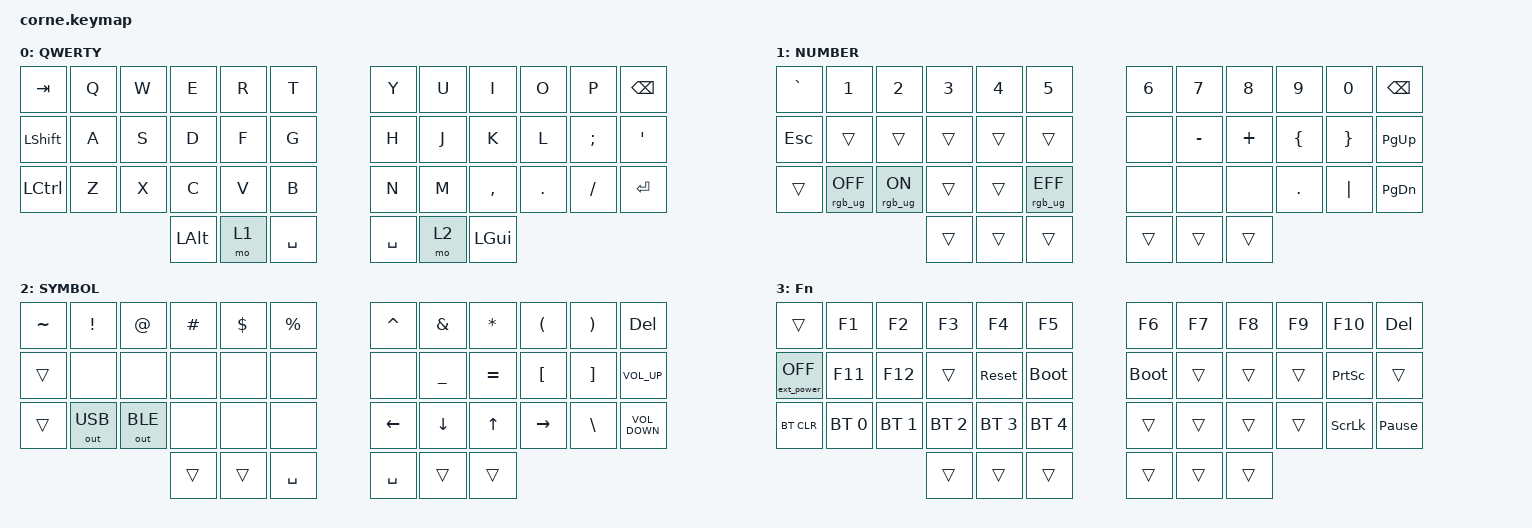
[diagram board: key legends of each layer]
/*
 * Copyright (c) 2020 The ZMK Contributors
 *
 * SPDX-License-Identifier: MIT
 */

#include <behaviors.dtsi>
#include <dt-bindings/zmk/bt.h>
#include <dt-bindings/zmk/ext_power.h>
#include <dt-bindings/zmk/keys.h>
#include <dt-bindings/zmk/outputs.h>
#include <dt-bindings/zmk/rgb.h>

/ {
    chosen {
        zmk,matrix_transform = &default_transform;

        // zmk,matrix_transform = &five_column_transform;
    };
};

/ {
    keymap {
        compatible = "zmk,keymap";

        default_layer {
            display-name = "QWERTY";

            // --------------------------------------------------------------------------------
            // |  TAB |  Q  |  W  |  E  |  R  |  T  |   |  Y  |  U   |  I  |  O  |  P  | BKSP |
            // | CTRL |  A  |  S  |  D  |  F  |  G  |   |  H  |  J   |  K  |  L  |  ;  |  '   | 
            // | SHFT |  Z  |  X  |  C  |  V  |  B  |   |  N  |  M   |  ,  |  .  |  /  | ESC  |
            //                    | GUI | LWR | SPC |   | ENT | RSE  | ALT |

            bindings = <
&kp TAB           &kp Q  &kp W  &kp E         &kp R  &kp T        &kp Y      &kp U  &kp I         &kp O    &kp P     &kp BSPC
&kp LEFT_SHIFT    &kp A  &kp S  &kp D         &kp F  &kp G        &kp H      &kp J  &kp K         &kp L    &kp SEMI  &kp SQT
&kp LEFT_CONTROL  &kp Z  &kp X  &kp C         &kp V  &kp B        &kp N      &kp M  &kp COMMA     &kp DOT  &kp FSLH  &kp ENTER
                                &kp LEFT_ALT  &mo 1  &kp SPACE    &kp SPACE  &mo 2  &kp LEFT_GUI
            >;
        };

        lower_layer {
            display-name = "NUMBER";

            // -----------------------------------------------------------------------------------------
            // |  TAB |  1  |  2  |  3  |  4  |  5  |   |  6  |  7  |  8  |  9  |  0  | BKSP |
            // | BTCLR| BT1 | BT2 | BT3 | BT4 | BT5 |   | LFT | DWN |  UP | RGT |     |      |
            // | SHFT |     |     |     |     |     |   |     |     |     |     |     |      |
            //                    | GUI |     | SPC |   | ENT |     | ALT |

            bindings = <
&kp GRAVE   &kp N1           &kp N2          &kp N3  &kp N4  &kp N5             &kp N6  &kp N7     &kp N8    &kp N9          &kp N0           &kp BSPC
&kp ESCAPE  &trans           &trans          &trans  &trans  &trans             &none   &kp MINUS  &kp PLUS  &kp LEFT_BRACE  &kp RIGHT_BRACE  &kp PG_UP
&trans      &rgb_ug RGB_OFF  &rgb_ug RGB_ON  &trans  &trans  &rgb_ug RGB_EFF    &none   &none      &none     &kp PERIOD      &kp PIPE         &kp PG_DN
                                             &trans  &trans  &trans             &trans  &trans     &trans
            >;
        };

        raise_layer {
            display-name = "SYMBOL";

            // -----------------------------------------------------------------------------------------
            // |  TAB |  !  |  @  |  #  |  $  |  %  |   |  ^  |  &  |  *  |  (  |  )  | BKSP |
            // | CTRL |     |     |     |     |     |   |  -  |  =  |  [  |  ]  |  \  |  `   |
            // | SHFT |     |     |     |     |     |   |  _  |  +  |  {  |  }  | "|" |  ~   |
            //                    | GUI |     | SPC |   | ENT |     | ALT |

            bindings = <
&kp TILDE  &kp EXCL      &kp AT        &kp HASH  &kp DLLR  &kp PRCNT    &kp CARET  &kp AMPS        &kp ASTRK  &kp LPAR          &kp RPAR           &kp DELETE
&trans     &none         &none         &none     &none     &none        &none      &kp UNDERSCORE  &kp EQUAL  &kp LEFT_BRACKET  &kp RIGHT_BRACKET  &kp C_VOLUME_UP
&trans     &out OUT_USB  &out OUT_BLE  &none     &none     &none        &kp LEFT   &kp DOWN        &kp UP     &kp RIGHT         &kp BACKSLASH      &kp C_VOLUME_DOWN
                                       &trans    &trans    &kp SPACE    &kp SPACE  &trans          &trans
            >;
        };

        layer_3 {
            display-name = "Fn";
            bindings = <
&trans             &kp F1        &kp F2        &kp F3        &kp F4        &kp F5          &kp F6       &kp F7  &kp F8  &kp F9  &kp F10          &kp DELETE
&ext_power EP_OFF  &kp F11       &kp F12       &trans        &sys_reset    &bootloader     &bootloader  &trans  &trans  &trans  &kp PRINTSCREEN  &trans
&bt BT_CLR         &bt BT_SEL 0  &bt BT_SEL 1  &bt BT_SEL 2  &bt BT_SEL 3  &bt BT_SEL 4    &trans       &trans  &trans  &trans  &kp SCROLLLOCK   &kp PAUSE_BREAK
                                               &trans        &trans        &trans          &trans       &trans  &trans
            >;
        };
    };

    conditional_layers {
        compatible = "zmk,conditional-layers";

        combinedLayers {
            if-layers = <1 2>;
            then-layer = <3>;
        };
    };
};
